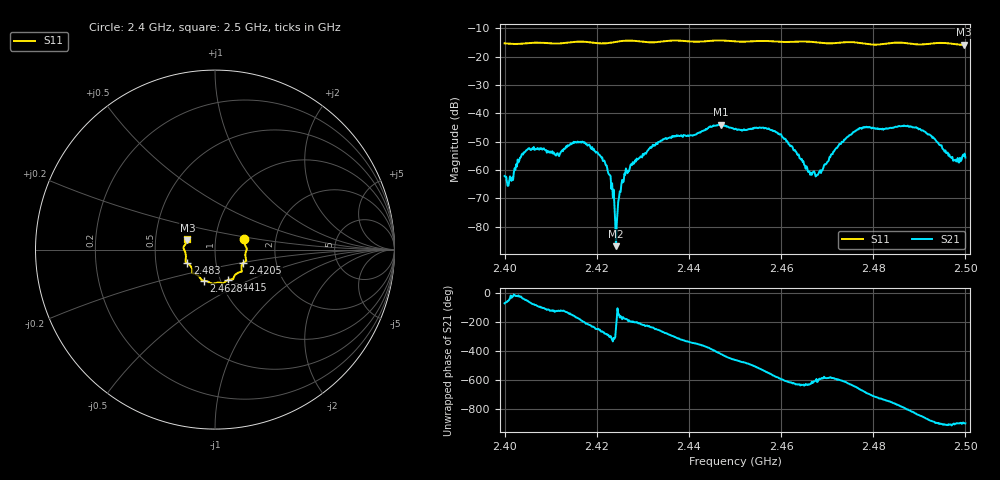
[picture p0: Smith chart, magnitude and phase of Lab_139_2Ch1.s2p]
# Hz S RI R 50
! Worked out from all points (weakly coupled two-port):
!   601 points, 2.4 GHz to 2.5 GHz, reference 50 ohm
!   highest |S21| = -43.93 dB at 2.447 GHz (marker M1); lowest = -86.8 dB at 2.4242 GHz (marker M2)
!   lowest |S11| = -15.7 dB at 2.4997 GHz (marker M3), VSWR 1.39, Z = 36.5 + j3.99 ohm
!   |S11| at or under -10 dB: start of sweep to end of sweep
!   S12 and S22 are empty: the file has one direction only
!   S11 on the Smith chart (normalised r, x): 2.4 GHz: 1.38, +0.16; 2.4205 GHz: 1.35, -0.21; 2.4415 GHz: 1.09, -0.38; 2.4628 GHz: 0.83, -0.30; 2.483 GHz: 0.73, -0.11; 2.5 GHz: 0.73, +0.09
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2.4e9  0.163 0.0563  0.00026 -0.000742  0 0  0 0
2.401333e9  0.1638 0.0435  0.000678 -0.000209  0 0  0 0
2.405e9  0.1737 0.013  0.00139 -0.00188  0 0  0 0
2.416667e9  0.1741 -0.0626  -0.00302 0.000531  0 0  0 0
2.4205e9  0.1553 -0.0763  -0.00056 0.00178  0 0  0 0
2.4225e9  0.1475 -0.0935  0.000262 0.000844  0 0  0 0
2.424167e9  0.1477 -0.1089  -2.11e-05 4.04e-05  0 0  0 0
2.4265e9  0.1503 -0.1209  -0.000967 -1.37e-05  0 0  0 0
2.433333e9  0.1078 -0.1473  -0.000916 0.003  0 0  0 0
2.4415e9  0.0733 -0.1691  0.00415 0.000932  0 0  0 0
2.447e9  0.0452 -0.1887  0.00308 -0.00557  0 0  0 0
2.45e9  0.0297 -0.1849  -0.00103 -0.00521  0 0  0 0
2.457e9  -0.0192 -0.189  -0.00531 0.000385  0 0  0 0
2.462833e9  -0.0621 -0.1737  -0.000317 0.00221  0 0  0 0
2.466667e9  -0.0765 -0.1666  -0.000285 0.000777  0 0  0 0
2.476667e9  -0.1258 -0.1254  0.00206 0.00483  0 0  0 0
2.483e9  -0.1543 -0.0756  0.00506 -0.0019  0 0  0 0
2.483333e9  -0.1565 -0.0744  0.00502 -0.00219  0 0  0 0
2.489667e9  -0.1619 -0.0336  -0.00244 -0.00498  0 0  0 0
2.497667e9  -0.1645 0.0308  -0.00151 7.9e-05  0 0  0 0
2.499667e9  -0.1542 0.0533  -0.00179 -0.000145  0 0  0 0
2.5e9  -0.1533 0.0578  -0.00166 -0.000129  0 0  0 0
